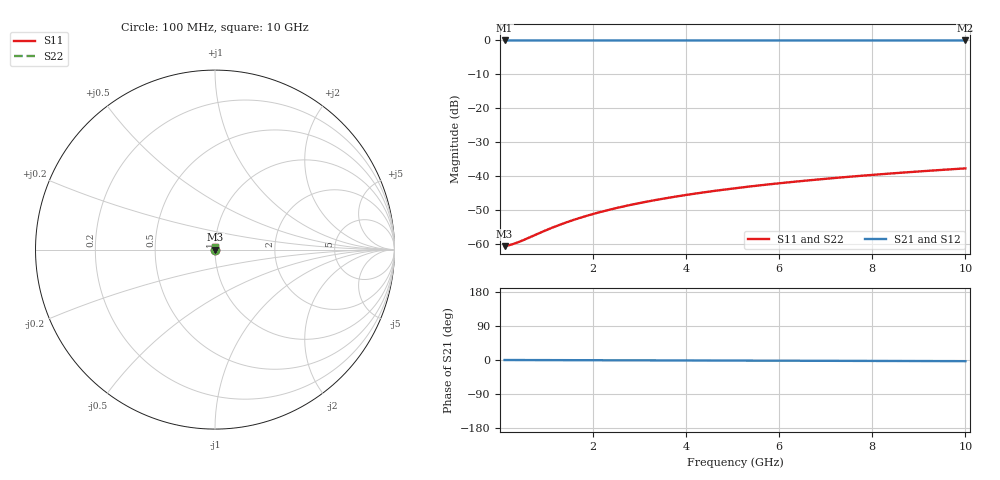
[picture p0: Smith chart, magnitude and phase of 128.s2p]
# Hz S RI R 50.00
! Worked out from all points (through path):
!   100 points, 100 MHz to 10 GHz, reference 50 ohm
!   highest |S21| = -0.01 dB at 100 MHz (marker M1); lowest = 0.0 dB at 10 GHz (marker M2)
!   lowest |S11| = -60.6 dB at 100 MHz (marker M3), VSWR 1.00, Z = 50.1 + j0.013 ohm
!   |S11| at or under -10 dB: start of sweep to end of sweep
!   |S22| runs from -60.6 to -37.7 dB; largest |S21 - S12| = 0
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1e8  0.000925 0.00013  0.9991 -0.000534  0.9991 -0.000534  0.000925 0.00013
2e8  0.000931 0.00026  0.9991 -0.00107  0.9991 -0.00107  0.000931 0.00026
3e8  0.000936 0.000389  0.9991 -0.0016  0.9991 -0.0016  0.000936 0.000389
4e8  0.00094 0.000519  0.9991 -0.00213  0.9991 -0.00213  0.00094 0.000519
1e9  0.000959 0.0013  0.999 -0.00534  0.999 -0.00534  0.000959 0.0013
1.2e9  0.000966 0.00156  0.999 -0.0064  0.999 -0.0064  0.000966 0.00156
1.5e9  0.000976 0.00195  0.999 -0.00801  0.999 -0.00801  0.000976 0.00195
1.8e9  0.000986 0.00234  0.999 -0.00961  0.999 -0.00961  0.000986 0.00234
2.1e9  0.000998 0.00272  0.999 -0.0112  0.999 -0.0112  0.000998 0.00272
2.5e9  0.00101 0.00324  0.9989 -0.0133  0.9989 -0.0133  0.00101 0.00324
2.9e9  0.00103 0.00376  0.9989 -0.0155  0.9989 -0.0155  0.00103 0.00376
3.4e9  0.00106 0.00441  0.9988 -0.0181  0.9988 -0.0181  0.00106 0.00441
3.8e9  0.00108 0.00493  0.9988 -0.0203  0.9988 -0.0203  0.00108 0.00493
4.2e9  0.00111 0.00545  0.9987 -0.0224  0.9987 -0.0224  0.00111 0.00545
4.6e9  0.00114 0.00596  0.9987 -0.0246  0.9987 -0.0246  0.00114 0.00596
5.1e9  0.00117 0.00661  0.9986 -0.0272  0.9986 -0.0272  0.00117 0.00661
5.9e9  0.00124 0.00765  0.9985 -0.0315  0.9985 -0.0315  0.00124 0.00765
6.7e9  0.00132 0.00868  0.9983 -0.0358  0.9983 -0.0358  0.00132 0.00868
7.5e9  0.0014 0.00972  0.9981 -0.04  0.9981 -0.04  0.0014 0.00972
8.4e9  0.00151 0.0109  0.9979 -0.0448  0.9979 -0.0448  0.00151 0.0109
9.2e9  0.00161 0.0119  0.9977 -0.0491  0.9977 -0.0491  0.00161 0.0119
1e10  0.00172 0.0129  0.9974 -0.0534  0.9974 -0.0534  0.00172 0.0129
